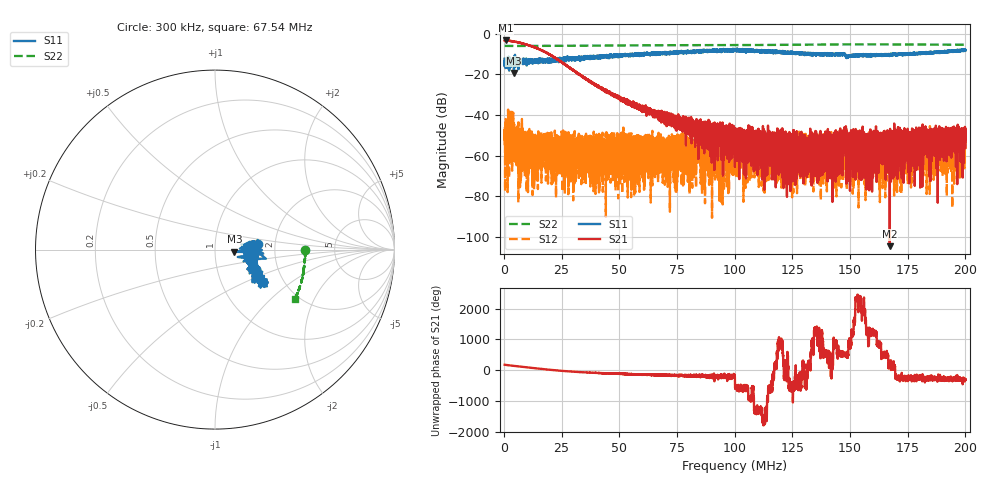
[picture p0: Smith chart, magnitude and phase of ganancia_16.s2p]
# Hz S DB R 50
! CMT, M5065, 19127446, 24.2.4/2
! Date: 11/8/2024 6:34:01 PM
! Data: Format (Calibration Info)
! Freq	S11:dB/Ang(F2)	S21:dB/Ang(F2)	S12:dB/Ang(F2)	S22:dB/Ang(F2)
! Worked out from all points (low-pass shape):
!   9000 points, 300 kHz to 200 MHz, reference 50 ohm
!   highest |S21| = -3.28 dB at 788.2 kHz (marker M1); lowest = -104.7 dB at 167.2 MHz (marker M2)
!   |S21| within 3 dB of the highest: start of sweep to 12.3 MHz; 12.33878 MHz to 12.36486 MHz (26.08 kHz wide, 0.211 % of centre)
!   lowest |S11| = -19.3 dB at 4.339 MHz (marker M3), VSWR 1.24, Z = 62.1 - j1.54 ohm
!   |S11| at or under -10 dB: start of sweep to 52.51 MHz; 147.8 MHz to 155.5 MHz (7.695 MHz wide, 5.07 % of centre); 159.1 MHz to 161.4 MHz (2.348 MHz wide, 1.47 % of centre)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
!   |S22| runs from -6.0 to -5.2 dB; largest |S21 - S12| = 0.69
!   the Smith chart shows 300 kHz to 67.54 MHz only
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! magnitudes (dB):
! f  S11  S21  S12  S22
! 300 kHz  -12.3  -3.3  -53.0  -6.0
! 788.2 kHz  -13.4  -3.3  -47.3  -6.0
! 4.339 MHz  -19.3  -3.8  -55.0  -6.0
! 6.181 MHz  -15.5  -4.2  -64.1  -6.0
! 13.24 MHz  -13.5  -6.6  -58.1  -6.0
! 17.88 MHz  -13.7  -9.0  -55.3  -5.9
! 33.59 MHz  -12.1  -20.6  -53.2  -5.9
! 66.87 MHz  -9.7  -38.4  -56.1  -5.7
! 91.24 MHz  -8.2  -67.2  -53.2  -5.6
! 94.59 MHz  -8.0  -49.3  -52.7  -5.6
! 100.2 MHz  -8.0  -53.9  -64.0  -5.6
! 121.9 MHz  -9.4  -51.7  -57.4  -5.4
! 133.4 MHz  -10.1  -66.5  -55.2  -5.3
! 136.8 MHz  -10.4  -54.8  -58.9  -5.3
! 140 MHz  -10.3  -57.5  -56.2  -5.2
! 144.8 MHz  -9.9  -58.1  -68.3  -5.2
! 147.5 MHz  -9.9  -54.3  -53.9  -5.2
! 151.8 MHz  -10.8  -65.9  -59.6  -5.2
! 166.7 MHz  -10.5  -52.4  -61.1  -5.2
! 167.2 MHz  -10.1  -104.7  -51.8  -5.2
! 197.6 MHz  -8.1  -58.3  -52.9  -5.4
! 200 MHz  -8.3  -52.4  -53.9  -5.4
